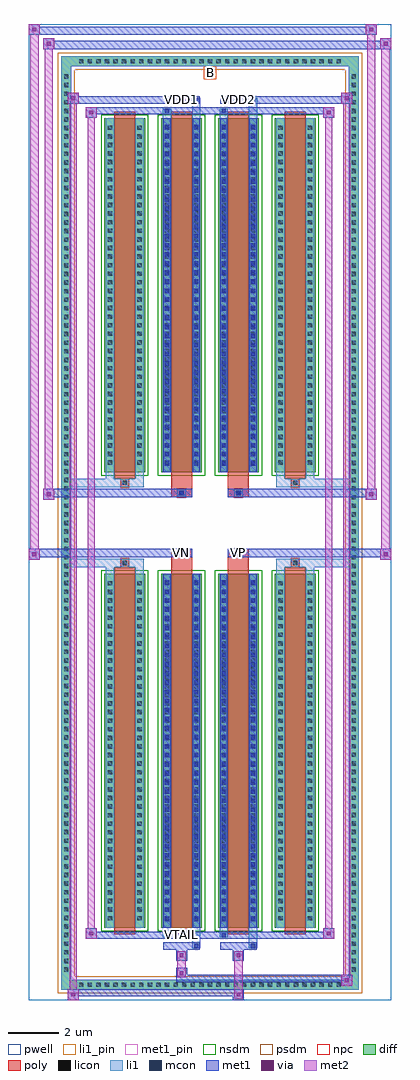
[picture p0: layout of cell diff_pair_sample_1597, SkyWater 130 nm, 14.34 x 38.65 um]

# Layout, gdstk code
import gdstk
lib = gdstk.Library(unit=1e-6, precision=5e-09)
def R(c, l, rs):  # rectangles x0, y0, x1, y1
    for r in rs: c.add(gdstk.rectangle(r[:2], r[2:], *l))
def A(c, l, x, y, w, h, nx, ny, dx, dy):  # array of equal rectangles
    R(c, l, [(x+i*dx, y+j*dy, x+i*dx+w, y+j*dy+h) for i in range(nx) for j in range(ny)])
def P(c, l, *ps):  # polygons
    for p in ps: c.add(gdstk.Polygon(p, *l))
pwell = (64, 44)
diff = (65, 20)
poly = (66, 20)
licon = (66, 44)
li1_pin = (67, 16)
li1 = (67, 20)
mcon = (67, 44)
met1_pin = (68, 16)
met1 = (68, 20)
via = (68, 44)
met2 = (69, 20)
nsdm = (93, 44)
psdm = (94, 20)
npc = (95, 20)

diff_pair_sample_1597 = lib.new_cell('diff_pair_sample_1597')
R(diff_pair_sample_1597, pwell, [(-7.17,-18.89,7.17,19.76), (-4.49,-17.08,-0.01,-0.82), (0.01,-17.08,4.49,-0.82), (-4.49,0.82,-0.01,17.08), (0.01,0.82,4.49,17.08)])
A(diff_pair_sample_1597, diff, -5.305, -18.49, 0.41, 0.41, 31, 2, 0.34, 36.57)
A(diff_pair_sample_1597, diff, -5.9, -17.885, 0.41, 0.41, 1, 105, 0, 0.34)
A(diff_pair_sample_1597, diff, 5.49, -17.885, 0.41, 0.41, 1, 105, 0, 0.34)
A(diff_pair_sample_1597, diff, -4.18, -16.035, 1.61, 14.03, 4, 2, 2.25, 18.04)
R(diff_pair_sample_1597, diff, [(-5.305,-18.49,5.305,-18.08), (-5.9,-17.885,-5.49,17.885), (5.49,-17.885,5.9,17.885), (-5.305,18.08,5.305,18.49)])
P(diff_pair_sample_1597, diff, [(5.9,18.49),(-5.9,18.49),(-5.9,-18.08),(-5.49,-18.08),(-5.49,18.08),(5.49,18.08),(5.49,-18.08),(-5.49,-18.08),(-5.9,-18.08),(-5.9,-18.49),(5.9,-18.49)])
A(diff_pair_sample_1597, poly, -3.79, -16.285, 0.83, 14.53, 4, 2, 2.25, 18.04)
R(diff_pair_sample_1597, poly, [(-3.54,-1.755,-3.21,-1.425), (-3.54,-1.755,-3.21,-1.425), (-1.54,-1.755,-0.71,-1.35), (0.71,-1.755,1.54,-1.35), (3.21,-1.755,3.54,-1.425), (3.21,-1.755,3.54,-1.425), (-1.54,-1.35,-0.71,-1.02), (-1.29,-1.35,-0.96,-1.02), (0.71,-1.35,1.54,-1.02), (0.96,-1.35,1.29,-1.02), (-1.54,1.02,-0.71,1.35), (-1.29,1.02,-0.96,1.35), (0.71,1.02,1.54,1.35), (0.96,1.02,1.29,1.35), (-1.54,1.35,-0.71,1.755), (0.71,1.35,1.54,1.755), (-3.54,1.425,-3.21,1.755), (-3.54,1.425,-3.21,1.755), (3.21,1.425,3.54,1.755), (3.21,1.425,3.54,1.755)])
A(diff_pair_sample_1597, licon, -5.185, -18.37, 0.17, 0.17, 31, 2, 0.34, 36.57)
A(diff_pair_sample_1597, licon, -5.78, -17.765, 0.17, 0.17, 1, 105, 0, 0.34)
A(diff_pair_sample_1597, licon, 5.61, -17.765, 0.17, 0.17, 1, 105, 0, 0.34)
A(diff_pair_sample_1597, licon, -4.04, -15.735, 0.17, 0.17, 1, 40, 0, 0.34)
A(diff_pair_sample_1597, licon, -2.88, -15.735, 0.17, 0.17, 1, 40, 0, 0.34)
A(diff_pair_sample_1597, licon, -1.79, -15.735, 0.17, 0.17, 1, 40, 0, 0.34)
A(diff_pair_sample_1597, licon, -0.63, -15.735, 0.17, 0.17, 1, 40, 0, 0.34)
A(diff_pair_sample_1597, licon, 0.46, -15.735, 0.17, 0.17, 1, 40, 0, 0.34)
A(diff_pair_sample_1597, licon, 1.62, -15.735, 0.17, 0.17, 1, 40, 0, 0.34)
A(diff_pair_sample_1597, licon, 2.71, -15.735, 0.17, 0.17, 1, 40, 0, 0.34)
A(diff_pair_sample_1597, licon, 3.87, -15.735, 0.17, 0.17, 1, 40, 0, 0.34)
A(diff_pair_sample_1597, licon, -4.04, 2.305, 0.17, 0.17, 1, 40, 0, 0.34)
A(diff_pair_sample_1597, licon, -2.88, 2.305, 0.17, 0.17, 1, 40, 0, 0.34)
A(diff_pair_sample_1597, licon, -1.79, 2.305, 0.17, 0.17, 1, 40, 0, 0.34)
A(diff_pair_sample_1597, licon, -0.63, 2.305, 0.17, 0.17, 1, 40, 0, 0.34)
A(diff_pair_sample_1597, licon, 0.46, 2.305, 0.17, 0.17, 1, 40, 0, 0.34)
A(diff_pair_sample_1597, licon, 1.62, 2.305, 0.17, 0.17, 1, 40, 0, 0.34)
A(diff_pair_sample_1597, licon, 2.71, 2.305, 0.17, 0.17, 1, 40, 0, 0.34)
A(diff_pair_sample_1597, licon, 3.87, 2.305, 0.17, 0.17, 1, 40, 0, 0.34)
R(diff_pair_sample_1597, licon, [(-3.46,-1.675,-3.29,-1.505), (3.29,-1.675,3.46,-1.505), (-1.21,-1.27,-1.04,-1.1), (1.04,-1.27,1.21,-1.1), (-1.21,1.1,-1.04,1.27), (1.04,1.1,1.21,1.27), (-3.46,1.505,-3.29,1.675), (3.29,1.505,3.46,1.675)])
R(diff_pair_sample_1597, li1_pin, [(-0.25,17.58,0.25,18.08)])
A(diff_pair_sample_1597, li1, -5.265, -18.45, 0.33, 0.33, 31, 2, 0.34, 36.57)
A(diff_pair_sample_1597, li1, -5.86, -17.845, 0.33, 0.33, 1, 105, 0, 0.34)
A(diff_pair_sample_1597, li1, 5.53, -17.845, 0.33, 0.33, 1, 105, 0, 0.34)
A(diff_pair_sample_1597, li1, -4.12, -15.815, 0.33, 0.33, 1, 40, 0, 0.34)
A(diff_pair_sample_1597, li1, -2.96, -15.815, 0.33, 0.33, 1, 40, 0, 0.34)
A(diff_pair_sample_1597, li1, -1.87, -15.815, 0.33, 0.33, 1, 40, 0, 0.34)
A(diff_pair_sample_1597, li1, -0.71, -15.815, 0.33, 0.33, 1, 40, 0, 0.34)
A(diff_pair_sample_1597, li1, 0.38, -15.815, 0.33, 0.33, 1, 40, 0, 0.34)
A(diff_pair_sample_1597, li1, 1.54, -15.815, 0.33, 0.33, 1, 40, 0, 0.34)
A(diff_pair_sample_1597, li1, 2.63, -15.815, 0.33, 0.33, 1, 40, 0, 0.34)
A(diff_pair_sample_1597, li1, 3.79, -15.815, 0.33, 0.33, 1, 40, 0, 0.34)
A(diff_pair_sample_1597, li1, -1.79, -15.765, 0.17, 0.17, 1, 38, 0, 0.36)
A(diff_pair_sample_1597, li1, -0.63, -15.765, 0.17, 0.17, 1, 38, 0, 0.36)
A(diff_pair_sample_1597, li1, 0.46, -15.765, 0.17, 0.17, 1, 38, 0, 0.36)
A(diff_pair_sample_1597, li1, 1.62, -15.765, 0.17, 0.17, 1, 38, 0, 0.36)
A(diff_pair_sample_1597, li1, -4.12, 2.225, 0.33, 0.33, 1, 40, 0, 0.34)
A(diff_pair_sample_1597, li1, -2.96, 2.225, 0.33, 0.33, 1, 40, 0, 0.34)
A(diff_pair_sample_1597, li1, -1.87, 2.225, 0.33, 0.33, 1, 40, 0, 0.34)
A(diff_pair_sample_1597, li1, -0.71, 2.225, 0.33, 0.33, 1, 40, 0, 0.34)
A(diff_pair_sample_1597, li1, 0.38, 2.225, 0.33, 0.33, 1, 40, 0, 0.34)
A(diff_pair_sample_1597, li1, 1.54, 2.225, 0.33, 0.33, 1, 40, 0, 0.34)
A(diff_pair_sample_1597, li1, 2.63, 2.225, 0.33, 0.33, 1, 40, 0, 0.34)
A(diff_pair_sample_1597, li1, 3.79, 2.225, 0.33, 0.33, 1, 40, 0, 0.34)
A(diff_pair_sample_1597, li1, -1.79, 2.275, 0.17, 0.17, 1, 38, 0, 0.36)
A(diff_pair_sample_1597, li1, -0.63, 2.275, 0.17, 0.17, 1, 38, 0, 0.36)
A(diff_pair_sample_1597, li1, 0.46, 2.275, 0.17, 0.17, 1, 38, 0, 0.36)
A(diff_pair_sample_1597, li1, 1.62, 2.275, 0.17, 0.17, 1, 38, 0, 0.36)
R(diff_pair_sample_1597, li1, [(-5.9,-18.49,-5.49,-18.08), (-5.9,-18.49,-5.49,-18.08), (-5.49,-18.49,5.49,-18.08), (5.49,-18.49,5.9,-18.08), (5.49,-18.49,5.9,-18.08), (-5.9,-18.08,-5.49,18.08), (5.49,-18.08,5.9,18.08), (-0.71,-16.84,-0.38,-16.035), (-0.63,-16.84,-0.46,-16.67), (1.54,-16.84,1.87,-16.035), (1.62,-16.84,1.79,-16.67), (-1.87,-16.41,-1.54,-16.035), (-1.79,-16.41,-1.62,-16.24), (0.38,-16.41,0.71,-16.035), (0.46,-16.41,0.63,-16.24), (-4.12,-16.035,-3.79,-2.005), (-2.96,-16.035,-2.63,-2.005), (-1.87,-16.035,-1.54,-2.005), (-0.71,-16.035,-0.38,-2.005), (0.38,-16.035,0.71,-2.005), (1.54,-16.035,1.87,-2.005), (2.63,-16.035,2.96,-2.005), (3.79,-16.035,4.12,-2.005), (-1.79,-15.765,-1.62,-2.275), (-0.63,-15.765,-0.46,-2.275), (0.46,-15.765,0.63,-2.275), (1.62,-15.765,1.79,-2.275), (-4.12,-2.005,-3.79,-1.425), (-2.96,-2.005,-2.63,-1.425), (2.63,-2.005,2.96,-1.425), (3.79,-2.005,4.12,-1.425), (-5.9,-1.755,-3.54,-1.425), (-4.12,-1.755,-3.54,-1.425), (-3.54,-1.755,-3.21,-1.425), (-3.21,-1.755,-2.63,-1.425), (2.63,-1.755,3.21,-1.425), (3.21,-1.755,3.54,-1.425), (3.21,-1.755,5.9,-1.425), (3.54,-1.755,4.12,-1.425), (-1.29,-1.35,-0.96,-1.02), (0.96,-1.35,1.29,-1.02), (-1.29,1.02,-0.96,1.35), (0.96,1.02,1.29,1.35), (-5.9,1.425,-3.54,1.755), (-4.12,1.425,-3.54,1.755), (-4.12,1.425,-3.79,2.005), (-3.54,1.425,-3.21,1.755), (-3.21,1.425,-2.63,1.755), (-2.96,1.425,-2.63,2.005), (2.63,1.425,3.21,1.755), (2.63,1.425,2.96,2.005), (3.21,1.425,3.54,1.755), (3.21,1.425,5.9,1.755), (3.54,1.425,4.12,1.755), (3.79,1.425,4.12,2.005), (-4.12,2.005,-3.79,16.035), (-2.96,2.005,-2.63,16.035), (-1.87,2.005,-1.54,16.035), (-0.71,2.005,-0.38,16.035), (0.38,2.005,0.71,16.035), (1.54,2.005,1.87,16.035), (2.63,2.005,2.96,16.035), (3.79,2.005,4.12,16.035), (-1.79,2.275,-1.62,15.765), (-0.63,2.275,-0.46,15.765), (0.46,2.275,0.63,15.765), (1.62,2.275,1.79,15.765), (-1.87,16.035,-1.54,16.41), (-0.71,16.035,-0.38,16.84), (0.38,16.035,0.71,16.41), (1.54,16.035,1.87,16.84), (-1.79,16.24,-1.62,16.41), (0.46,16.24,0.63,16.41), (-0.63,16.67,-0.46,16.84), (1.62,16.67,1.79,16.84), (-5.9,18.08,-5.49,18.49), (-5.9,18.08,-5.49,18.49), (-5.49,18.08,5.49,18.49), (5.49,18.08,5.9,18.49), (5.49,18.08,5.9,18.49)])
A(diff_pair_sample_1597, mcon, -1.79, -15.765, 0.17, 0.17, 1, 38, 0, 0.36)
A(diff_pair_sample_1597, mcon, -0.63, -15.765, 0.17, 0.17, 1, 38, 0, 0.36)
A(diff_pair_sample_1597, mcon, 0.46, -15.765, 0.17, 0.17, 1, 38, 0, 0.36)
A(diff_pair_sample_1597, mcon, 1.62, -15.765, 0.17, 0.17, 1, 38, 0, 0.36)
A(diff_pair_sample_1597, mcon, -1.79, 2.275, 0.17, 0.17, 1, 38, 0, 0.36)
A(diff_pair_sample_1597, mcon, -0.63, 2.275, 0.17, 0.17, 1, 38, 0, 0.36)
A(diff_pair_sample_1597, mcon, 0.46, 2.275, 0.17, 0.17, 1, 38, 0, 0.36)
A(diff_pair_sample_1597, mcon, 1.62, 2.275, 0.17, 0.17, 1, 38, 0, 0.36)
R(diff_pair_sample_1597, mcon, [(-0.63,-16.84,-0.46,-16.67), (1.62,-16.84,1.79,-16.67), (-1.79,-16.41,-1.62,-16.24), (0.46,-16.41,0.63,-16.24), (-1.21,-1.27,-1.04,-1.1), (1.04,-1.27,1.21,-1.1), (-1.21,1.1,-1.04,1.27), (1.04,1.1,1.21,1.27), (-1.79,16.24,-1.62,16.41), (0.46,16.24,0.63,16.41), (-0.63,16.67,-0.46,16.84), (1.62,16.67,1.79,16.84)])
R(diff_pair_sample_1597, met1_pin, [(-1.26,-16.45,-0.99,-16.18), (-1.26,-1.29,-0.99,-1.02), (0.99,-1.29,1.26,-1.02), (-1.26,16.63,-0.99,16.9), (0.99,16.63,1.26,16.9)])
A(diff_pair_sample_1597, met1, -1.85, -15.825, 0.29, 0.29, 1, 38, 0, 0.36)
A(diff_pair_sample_1597, met1, -0.69, -15.825, 0.29, 0.29, 1, 38, 0, 0.36)
A(diff_pair_sample_1597, met1, 0.4, -15.825, 0.29, 0.29, 1, 38, 0, 0.36)
A(diff_pair_sample_1597, met1, 1.56, -15.825, 0.29, 0.29, 1, 38, 0, 0.36)
A(diff_pair_sample_1597, met1, -1.85, 2.215, 0.29, 0.29, 1, 38, 0, 0.36)
A(diff_pair_sample_1597, met1, -0.69, 2.215, 0.29, 0.29, 1, 38, 0, 0.36)
A(diff_pair_sample_1597, met1, 0.4, 2.215, 0.29, 0.29, 1, 38, 0, 0.36)
A(diff_pair_sample_1597, met1, 1.56, 2.215, 0.29, 0.29, 1, 38, 0, 0.36)
R(diff_pair_sample_1597, met1, [(-5.63,-18.89,-5.2,-18.46), (0.91,-18.89,1.34,-18.46), (-5.63,-18.75,1.34,-18.46), (5.2,-18.32,5.63,-17.89), (-1.34,-18.18,5.63,-17.89), (-1.34,-18.04,-0.91,-17.61), (-1.34,-17.33,-0.91,-16.9), (0.91,-17.33,1.34,-16.9), (-1.85,-16.9,-0.4,-16.61), (-0.69,-16.9,-0.4,-16.61), (0.4,-16.9,1.85,-16.61), (1.56,-16.9,1.85,-16.61), (-4.92,-16.47,-4.49,-16.04), (-4.92,-16.47,-1.85,-16.18), (-1.85,-16.47,-1.56,-16.18), (-1.85,-16.47,-0.4,-16.18), (-0.4,-16.47,0.4,-16.18), (0.4,-16.47,0.69,-16.18), (0.4,-16.47,1.85,-16.18), (1.85,-16.47,4.92,-16.18), (4.49,-16.47,4.92,-16.04), (-1.85,-16.035,-1.56,-2.005), (-0.69,-16.035,-0.4,-2.005), (0.4,-16.035,0.69,-2.005), (1.56,-16.035,1.85,-2.005), (-7.17,-1.45,-6.74,-1.02), (6.74,-1.45,7.17,-1.02), (-7.17,-1.35,-0.71,-1.02), (-1.54,-1.35,-0.71,-1.02), (0.71,-1.35,1.54,-1.02), (0.71,-1.35,7.17,-1.02), (-1.27,-1.33,-0.98,-1.04), (0.98,-1.33,1.27,-1.04), (-6.6,0.92,-6.17,1.35), (6.17,0.92,6.6,1.35), (-6.6,1.02,-1.54,1.35), (-1.54,1.02,-0.71,1.35), (0.71,1.02,1.54,1.35), (1.54,1.02,6.6,1.35), (-1.27,1.04,-0.98,1.33), (0.98,1.04,1.27,1.33), (-1.85,2.005,-1.56,16.035), (-0.69,2.005,-0.4,16.035), (0.4,2.005,0.69,16.035), (1.56,2.005,1.85,16.035), (-4.92,16.04,-4.49,16.47), (4.49,16.04,4.92,16.47), (-4.92,16.18,-1.85,16.47), (-1.85,16.18,-1.56,16.47), (-1.85,16.18,-0.4,16.47), (-0.4,16.18,0.4,16.47), (0.4,16.18,0.69,16.47), (0.4,16.18,1.85,16.47), (1.85,16.18,4.92,16.47), (-5.63,16.61,-5.2,17.04), (-5.63,16.61,-1.85,16.9), (-1.85,16.61,-0.4,16.9), (-0.69,16.61,-0.4,16.9), (0.4,16.61,1.85,16.9), (1.56,16.61,1.85,16.9), (1.85,16.61,5.63,16.9), (5.2,16.61,5.63,17.04), (-6.6,18.76,-6.17,19.19), (-6.6,18.76,-4.49,19.09), (-4.49,18.76,4.49,19.09), (4.49,18.76,7.17,19.09), (6.74,18.76,7.17,19.19), (-7.17,19.33,-6.74,19.76), (-7.17,19.33,-4.49,19.66), (-4.49,19.33,4.49,19.66), (4.49,19.33,6.6,19.66), (6.17,19.33,6.6,19.76)])
R(diff_pair_sample_1597, via, [(-5.49,-18.75,-5.34,-18.6), (1.05,-18.75,1.2,-18.6), (5.34,-18.18,5.49,-18.03), (-1.2,-17.9,-1.05,-17.75), (-1.2,-17.19,-1.05,-17.04), (1.05,-17.19,1.2,-17.04), (-4.78,-16.33,-4.63,-16.18), (4.63,-16.33,4.78,-16.18), (-7.03,-1.31,-6.88,-1.16), (6.88,-1.31,7.03,-1.16), (-6.46,1.06,-6.31,1.21), (6.31,1.06,6.46,1.21), (-4.78,16.18,-4.63,16.33), (4.63,16.18,4.78,16.33), (-5.49,16.75,-5.34,16.9), (5.34,16.75,5.49,16.9), (-6.46,18.9,-6.31,19.05), (6.88,18.9,7.03,19.05), (-7.03,19.47,-6.88,19.62), (6.31,19.47,6.46,19.62)])
R(diff_pair_sample_1597, met2, [(-5.63,-18.89,-5.2,-18.46), (-5.56,-18.89,-5.27,17.04), (-5.27,-18.89,-5.2,-18.46), (-5.58,-18.84,-5.25,-18.51), (0.96,-18.84,1.29,-18.51), (0.96,-18.51,1.29,-17.28), (5.2,-18.32,5.63,-17.89), (5.27,-18.32,5.56,17.04), (5.56,-18.32,5.63,-17.89), (5.25,-18.27,5.58,-17.94), (-1.29,-17.99,-0.96,-17.66), (-1.29,-17.66,-0.96,-17.28), (-1.29,-17.28,-0.96,-16.95), (0.96,-17.28,1.29,-16.95), (-4.92,-16.47,-4.49,-16.04), (-4.85,-16.47,-4.56,16.47), (-4.56,-16.47,-4.49,-16.04), (4.49,-16.47,4.92,-16.04), (4.56,-16.47,4.85,16.47), (4.85,-16.47,4.92,-16.04), (-4.87,-16.42,-4.54,-16.09), (4.54,-16.42,4.87,-16.09), (-7.17,-1.45,-6.74,-1.02), (-7.12,-1.45,-6.79,19.76), (-6.79,-1.45,-6.74,-1.02), (6.74,-1.45,7.17,-1.02), (6.79,-1.45,7.12,19.19), (7.12,-1.45,7.17,-1.02), (-7.12,-1.4,-6.79,-1.07), (6.79,-1.4,7.12,-1.07), (-6.6,0.92,-6.17,1.35), (-6.55,0.92,-6.22,19.19), (-6.22,0.92,-6.17,1.35), (6.17,0.92,6.6,1.35), (6.22,0.92,6.55,19.76), (6.55,0.92,6.6,1.35), (-6.55,0.97,-6.22,1.3), (6.22,0.97,6.55,1.3), (-4.92,16.04,-4.49,16.47), (-4.56,16.04,-4.49,16.47), (4.49,16.04,4.92,16.47), (4.85,16.04,4.92,16.47), (-4.87,16.09,-4.54,16.42), (4.54,16.09,4.87,16.42), (-5.63,16.61,-5.2,17.04), (-5.27,16.61,-5.2,17.04), (5.2,16.61,5.63,17.04), (5.56,16.61,5.63,17.04), (-5.58,16.66,-5.25,16.99), (5.25,16.66,5.58,16.99), (-6.6,18.76,-6.17,19.19), (-6.22,18.76,-6.17,19.19), (6.74,18.76,7.17,19.19), (7.12,18.76,7.17,19.19), (-6.55,18.81,-6.22,19.14), (6.79,18.81,7.12,19.14), (-7.17,19.33,-6.74,19.76), (-6.79,19.33,-6.74,19.76), (6.17,19.33,6.6,19.76), (6.55,19.33,6.6,19.76), (-7.12,19.38,-6.79,19.71), (6.22,19.38,6.55,19.71)])
A(diff_pair_sample_1597, nsdm, -4.31, -16.165, 1.87, 14.29, 4, 2, 2.25, 18.04)
P(diff_pair_sample_1597, psdm, [(6.03,18.62),(-6.03,18.62),(-6.03,-17.95),(-5.36,-17.95),(-5.36,17.95),(5.36,17.95),(5.36,-17.95),(-5.36,-17.95),(-6.03,-17.95),(-6.03,-18.62),(6.03,-18.62)])
R(diff_pair_sample_1597, npc, [(-3.56,-1.775,-3.19,-1.405), (3.19,-1.775,3.56,-1.405), (-1.31,-1.37,-0.94,-1), (0.94,-1.37,1.31,-1), (-1.31,1,-0.94,1.37), (0.94,1,1.31,1.37), (-3.56,1.405,-3.19,1.775), (3.19,1.405,3.56,1.775)])
diff_pair_sample_1597.add(gdstk.Label('VTAIL', (-1.125,-16.315), layer=68, texttype=5))
diff_pair_sample_1597.add(gdstk.Label('VN', (-1.125,-1.155), layer=68, texttype=5))
diff_pair_sample_1597.add(gdstk.Label('VP', (1.125,-1.155), layer=68, texttype=5))
diff_pair_sample_1597.add(gdstk.Label('B', (0,17.83), layer=67, texttype=5))
diff_pair_sample_1597.add(gdstk.Label('VDD2', (1.125,16.765), layer=68, texttype=5))
diff_pair_sample_1597.add(gdstk.Label('VDD1', (-1.125,16.765), layer=68, texttype=5))

lib.write_gds('diff_pair_sample_1597.gds')
